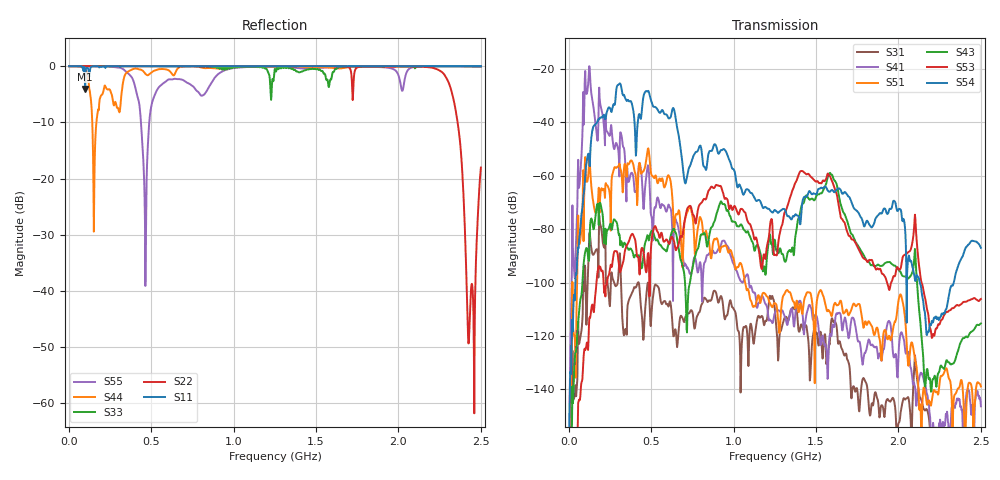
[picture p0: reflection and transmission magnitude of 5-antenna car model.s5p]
# HZ S RI R 50
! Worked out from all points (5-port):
!   1000 points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, 2.5 MHz to 2.5 GHz, reference 50 ohm
!   strongest paths, dB at 2.5 MHz, 627.5 MHz, 1.252 GHz, 1.877 GHz, 2.5 GHz:
!     S54: -161.6, -35.4, -72.9, -74.7, -87.0
!     S53: -, -82.9, -89.6, -94.9, -106.1
!     S43: -195.0, -80.8, -85.0, -93.3, -115.3
!     S51: -, -67.3, -107.7, -118.6, -138.9
!     S41: -175.8, -79.4, -111.0, -128.4, -146.3
!     S31: -, -113.8, -111.6, -145.1, -159.5
!   lowest |S11| = -4.0 dB at 100 MHz (marker M1), VSWR 4.38, Z = 58.7 + j87.1 ohm
!   |S11| at or under -10 dB: nowhere
